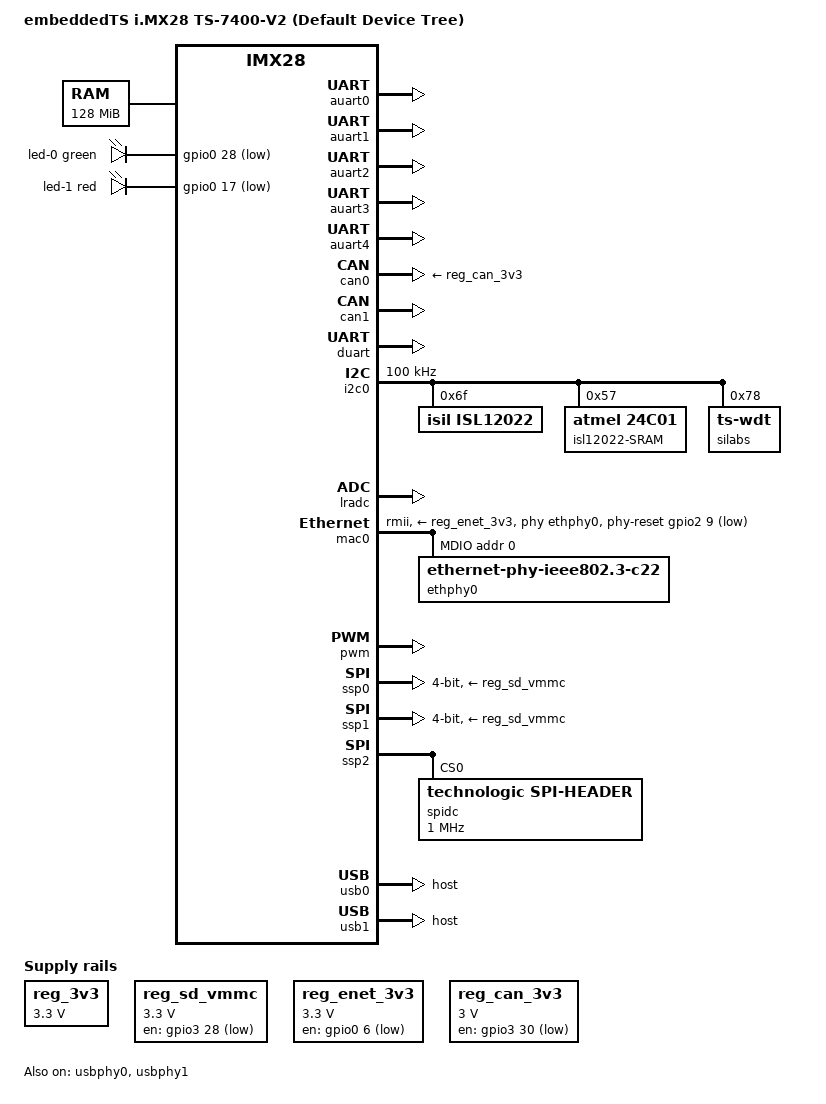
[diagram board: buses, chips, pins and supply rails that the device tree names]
// SPDX-License-Identifier: GPL-2.0 OR X11
/*
 * Copyright (C) 2018-2023 Technologic Systems, Inc. dba embeddedTS <support@embeddedTS.com>
 */

/dts-v1/;
#include <dt-bindings/input/input.h>
#include <dt-bindings/leds/common.h>
#include "imx28.dtsi"

/ {

	model = "embeddedTS i.MX28 TS-7400-V2 (Default Device Tree)";
	compatible = "fsl,imx28-ts7400v2", "fsl,imx28";

	aliases {
		spi0 = &ssp2;
		i2c0 = &i2c0;
	};

	memory {
		reg = <0x40000000 0x08000000>;   /* 128MB */
	};

	led-controller {
		pinctrl-names = "default";
		pinctrl-0 = <&pinctrl_gpio_leds>;
		compatible = "gpio-leds";

		led-0 {
			color = <LED_COLOR_ID_GREEN>;
			function = LED_FUNCTION_POWER;
			gpios = <&gpio0 28 GPIO_ACTIVE_LOW>;
			default-state = "on";
		};

		led-1 {
			color = <LED_COLOR_ID_RED>;
			function = LED_FUNCTION_INDICATOR;
			gpios = <&gpio0 17 GPIO_ACTIVE_LOW>;
			default-state = "off";
		};
	};

	reg_3v3: regulator-3v3 {
		compatible = "regulator-fixed";
		regulator-name = "3V3";
		regulator-min-microvolt = <3300000>;
		regulator-max-microvolt = <3300000>;
		regulator-always-on;
	};

	reg_sd_vmmc: regulator-sd-vmmc {
		compatible = "regulator-fixed";
		pinctrl-names = "default";
		pinctrl-0 = <&en_sd_pwr>;
		regulator-name = "SD_VMMC";
		regulator-min-microvolt = <3300000>;
		regulator-max-microvolt = <3300000>;
		regulator-boot-on;
		gpio = <&gpio3 28 GPIO_ACTIVE_LOW>;
	};

	reg_enet_3v3: regulator-enet-3v3 {
		compatible = "regulator-fixed";
		pinctrl-names = "default";
		pinctrl-0 = <&mac0_pwr_ctrl>;
		regulator-name = "ENET_3V3";
		regulator-min-microvolt = <3300000>;
		regulator-max-microvolt = <3300000>;
		gpio = <&gpio0 6 GPIO_ACTIVE_LOW>;
	};

	reg_can_3v3: regulator-can-en {
		compatible = "regulator-fixed";
		pinctrl-names = "default";
		pinctrl-0 = <&pinctrl_flexcan_3v3>;
		regulator-name = "CAN_EN";
		regulator-min-microvolt = <3000000>;
		regulator-max-microvolt = <3000000>;
		gpio = <&gpio3 30 GPIO_ACTIVE_LOW>;
	};
};

&auart0 {
	pinctrl-names = "default";
	pinctrl-0 = <&auart0_2pins_a>;
	status = "okay";
};

&auart1 {
	pinctrl-names = "default";
	pinctrl-0 = <&auart1_2pins_a>;
	status = "okay";
};

&auart2 {
	pinctrl-names = "default";
	pinctrl-0 = <&auart2_2pins_a>;
	status = "okay";
};

&auart3 {
	pinctrl-names = "default";
	pinctrl-0 = <&auart3_2pins_a>;
	status = "okay";
};

&auart4 {
	pinctrl-names = "default";
	pinctrl-0 = <&auart4_2pins>;
	status = "okay";
};

&can0 {
	pinctrl-names = "default";
	pinctrl-0 = <&can0_pins_a>;
	xceiver-supply = <&reg_can_3v3>;
	status = "okay";
};

&can1 {
	pinctrl-names = "default";
	pinctrl-0 = <&can1_pins_a>;
	status = "okay";
};

&duart {
	pinctrl-names = "default";
	pinctrl-0 = <&duart_pins_a>;
	status = "okay";
};

&gpio0 {
	gpio-line-names = "", "", "", "", "", "", "", "", "", "", "", "", "", 
		"", "", "", "", "", "CAN_TX1", "CAN_RX1", "", "", "CAN_TX0",
		"CAN_RX0";
};

&gpio1 {
	gpio-line-names = "", "", "", "", "", "", "", "LCD_D07", "LCD_D08",
		"LCD_D09", "LCD_D10", "LCD_D11", "LCD_D12", "", "DIO_09",
		"DIO_08", "DIO_00", "DIO_01", "DIO_02", "DIO_03", "DIO_04",
		"DIO_05", "DIO_06", "DIO_07", "DIO_19", "DIO_25", "",
		"EN_USB_5V";
};

&gpio2 {
	gpio-line-names = "", "", "", "", "SPI_MISO", "SPI_CS#", "SPI_MOSI",
		"SPI_CLK", "", "", "", "", "", "", "", "", "", "UART2_RXD",
		"UART2_TXD", "UART3_RXD", "UART3_TXD", "CAN_TX0", "CAN_RX0";
};

&gpio3 {
	gpio-line-names = "UART0_RXD", "UART0_TXD", "CAN_RX1", "CAN_TX1",
		"UART1_RXD", "UART1_TXD", "", "", "", "", "", "", "", "", "", 
		"", "", "", "", "", "I2S_MCLK", "I2S_FRAME", "I2S_BIT_CLK",
		"I2S_TXD", "I2C_CLK", "I2C_DAT", "I2S_RXD", "", "", "DIO_15";
};

&i2c0 {
	pinctrl-names = "default";
	pinctrl-0 = <&i2c0_pins_a>;
	clock-frequency = <100000>;
	status = "okay";

	isl12022: rtc@6f {
		compatible = "isil,isl12022";
		btse-minutes = <1>;
		vb75t = <2>; /* 2.25 V */
		vb85t = <2>; /* 2.55 V */
		reg = <0x6f>;
	};

	isl12022_sram: eeprom@57 {
		compatible = "atmel,24c01";
		reg = <0x57>;
		label = "isl12022-SRAM";
		pagesize = <128>;
		size = <128>;
		address-width = <8>;
	};

	silabs: watchdog@78 {
		compatible = "ts-wdt";
		timeout-sec = <500>;
		enable-early;
		reg = <0x78>;
	};
};

&lradc {
	status = "okay";
};

&mac0 {
	phy-mode = "rmii";
	pinctrl-names = "default";
	pinctrl-0 = <&mac0_pins>;
	phy-supply = <&reg_enet_3v3>;
	phy-handle = <&ethphy0>;
	phy-reset-gpios = <&gpio2 9 GPIO_ACTIVE_LOW>;
	phy-reset-duration = <100>;
	phy-reset-post-delay = <1>;
	status = "okay";

	mdio {
		#address-cells = <1>;
		#size-cells = <0>;

		ethphy0: ethernet-phy@0 {
			compatible = "ethernet-phy-ieee802.3-c22";
			/* magic number "64" is enet out from CPU */
			clocks = <&clks 64>;
			clock-names = "rmii-ref";
			reg = <0>;
		};
	};
};

&pinctrl {
	pinctrl-names = "default";
	pinctrl-0 = <&pinctrl_hog>;

	pinctrl_hog: hoggrp {
		reg = <0>;
		fsl,pinmux-ids = <
			//USB 5V EN
			MX28_PAD_LCD_CS__GPIO_1_27
		>;
		fsl,drive-strength = <MXS_DRIVE_12mA>;
		fsl,voltage = <MXS_VOLTAGE_HIGH>;
		/* This pin uses PULL_DISABLE == 0 == Enable Keeper */
		fsl,pull-up = <MXS_PULL_DISABLE>;
	};

	en_sd_pwr: en_sd_pwr {
		reg = <0>;
		fsl,pinmux-ids = <
			MX28_PAD_PWM3__GPIO_3_28
		>;
		fsl,drive-strength = <MXS_DRIVE_4mA>;
		fsl,voltage = <MXS_VOLTAGE_HIGH>;
		fsl,pull-up = <MXS_PULL_DISABLE>;
	};

	mmc0_4bit_pins: mmc0-4bit@0 {
		reg = <0>;
		fsl,pinmux-ids = <
			MX28_PAD_SSP0_DATA0__SSP0_D0
			MX28_PAD_SSP0_DATA1__SSP0_D1
			MX28_PAD_SSP0_DATA2__SSP0_D2
			MX28_PAD_SSP0_DATA3__SSP0_D3
			MX28_PAD_SSP0_CMD__SSP0_CMD
		>;
		fsl,drive-strength = <MXS_DRIVE_8mA>;
		fsl,voltage = <MXS_VOLTAGE_HIGH>;
		fsl,pull-up = <MXS_PULL_ENABLE>;
	};

	mmc1_4bit_pins: mmc1-4bit@0 {
		reg = <0>;
		fsl,pinmux-ids = <
			MX28_PAD_GPMI_RDY1__SSP1_CMD
			MX28_PAD_GPMI_D00__SSP1_D0
			MX28_PAD_GPMI_D01__SSP1_D1
			MX28_PAD_GPMI_D02__SSP1_D2
			MX28_PAD_GPMI_D03__SSP1_D3
		>;
		fsl,drive-strength = <MXS_DRIVE_8mA>;
		fsl,voltage = <MXS_VOLTAGE_HIGH>;
		fsl,pull-up = <MXS_PULL_ENABLE>;
	};

	mac0_pins: mac0@0 {
		reg = <0>;
		fsl,pinmux-ids = <
			MX28_PAD_ENET0_MDC__ENET0_MDC
			MX28_PAD_ENET0_MDIO__ENET0_MDIO
			MX28_PAD_ENET0_RX_EN__ENET0_RX_EN
			MX28_PAD_ENET0_RXD0__ENET0_RXD0
			MX28_PAD_ENET0_RXD1__ENET0_RXD1
			MX28_PAD_ENET0_TX_EN__ENET0_TX_EN
			MX28_PAD_ENET0_TXD0__ENET0_TXD0
			MX28_PAD_ENET0_TXD1__ENET0_TXD1
			MX28_PAD_ENET_CLK__CLKCTRL_ENET
			/* PHY reset */
			MX28_PAD_SSP0_DETECT__GPIO_2_9
		>;
		fsl,drive-strength = <MXS_DRIVE_8mA>;
		fsl,voltage = <MXS_VOLTAGE_HIGH>;
		fsl,pull-up = <MXS_PULL_ENABLE>;
	};

	mac0_pwr_ctrl: mac-pwr-ctrl@0 {
		reg = <0>;
		fsl,pinmux-ids = < 
			MX28_PAD_GPMI_D06__GPIO_0_6
		>;
		fsl,drive-strength = <MXS_DRIVE_8mA>;
		fsl,voltage = <MXS_VOLTAGE_HIGH>;
		fsl,pull-up = <MXS_PULL_ENABLE>;
	};

	auart4_2pins: auart4@0 {
		reg = <0>;
		fsl,pinmux-ids = <
			MX28_PAD_SAIF0_BITCLK__AUART4_RX
			MX28_PAD_SAIF0_SDATA0__AUART4_TX
		>;
		fsl,drive-strength = <MXS_DRIVE_4mA>;
		fsl,voltage = <MXS_VOLTAGE_HIGH>;
		fsl,pull-up = <MXS_PULL_DISABLE>;
	};

	pinctrl_spi0: spi@0 {
		reg = <0>;
		fsl,pinmux-ids = <
			MX28_PAD_SSP0_DATA4__SSP2_D0
			MX28_PAD_SSP0_DATA5__SSP2_D3
			MX28_PAD_SSP0_DATA6__SSP2_CMD
			MX28_PAD_SSP0_DATA7__SSP2_SCK
		>;
		fsl,drive-strength = <MXS_DRIVE_8mA>;
		fsl,voltage = <MXS_VOLTAGE_HIGH>;
		fsl,pull-up = <MXS_PULL_ENABLE>;
	};

	pinctrl_flexcan_3v3: en-can@0 {
		reg = <0>;
		fsl,pinmux-ids = <
			MX28_PAD_LCD_RESET__GPIO_3_30
		>;
		fsl,drive-strength = <MXS_DRIVE_4mA>;
		fsl,voltage = <MXS_VOLTAGE_HIGH>;
		/* This pin uses PULL_DISABLE == 0 == Enable Keeper */
		fsl,pull-up = <MXS_PULL_DISABLE>;
	};

	pinctrl_gpio_leds: gpio-led@0 {
		reg = <0>;
		fsl,pinmux-ids = <
			MX28_PAD_GPMI_CE1N__GPIO_0_17
			MX28_PAD_GPMI_RESETN__GPIO_0_28
		>;
		fsl,drive-strength = <MXS_DRIVE_12mA>;
		fsl,voltage = <MXS_VOLTAGE_HIGH>;
		fsl,pull-up = <MXS_PULL_DISABLE>;
	};
};

&pwm {
	pinctrl-names = "default";
	pinctrl-0 = <&pwm2_pins_a>;
	status = "okay";
};

&ssp0 {
	compatible = "fsl,imx28-mmc";
	pinctrl-names = "default";
	pinctrl-0 = <&mmc0_4bit_pins
		     &mmc0_sck_cfg>;
	broken-cd = <1>;
	bus-width = <4>;
	vmmc-supply = <&reg_sd_vmmc>;
	status = "okay";
};

&ssp1 {
	compatible = "fsl,imx28-mmc";
	pinctrl-names = "default";
	pinctrl-0 = <&mmc1_4bit_pins
		     &mmc1_sck_cfg>;
	broken-cd = <1>;
	bus-width = <4>;
	vmmc-supply = <&reg_sd_vmmc>;
	status = "okay";
};

&ssp2 {
	compatible = "fsl,imx28-spi";
	pinctrl-names = "default";
	pinctrl-0 = <&pinctrl_spi0>;
	status = "okay";

	spidc: spi@0 {
		compatible = "technologic,spi-header";
		reg = <0>;
		spi-max-frequency = <1000000>;
	};
};

&usb0 {
	disable-over-current;
	dr_mode = "host";
	status = "okay";
};

&usb1 {
	disable-over-current;
	dr_mode = "host";
	status = "okay";
};

&usbphy0 {
	status = "okay";

};

&usbphy1 {
	status = "okay";
};



